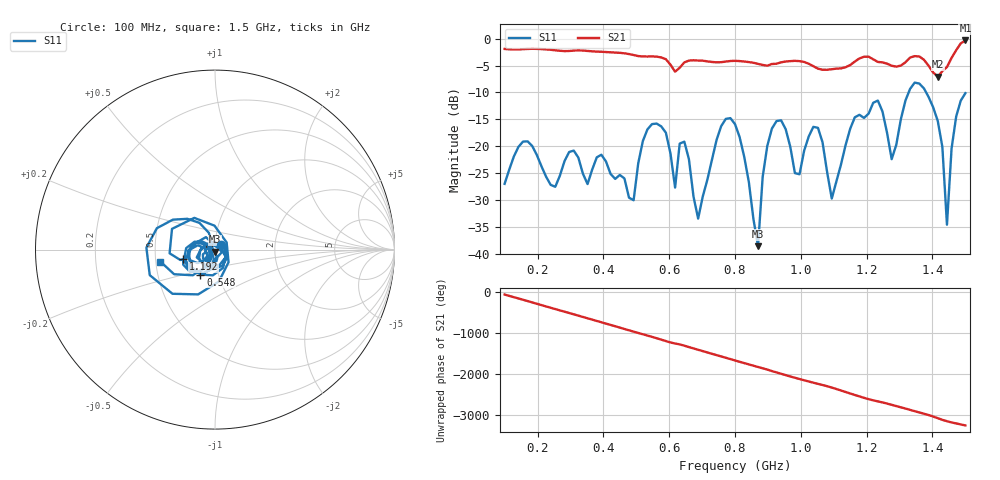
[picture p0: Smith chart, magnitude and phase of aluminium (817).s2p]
! NanoVNA-App
! Date: 2025-09-25 15:01:38
! Start: 100MHz Stop: 1,5GHz Points: 101
! S-Parameter data: F S11 S21 S12 S22
# Hz S RI R 50
!  Frequency  S11_Real  S11_Imag  S21_Real  S21_Imag  S12_Real  S12_Imag  S22_Real  S22_Imag
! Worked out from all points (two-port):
!   101 points, 100 MHz to 1.5 GHz, reference 50 ohm
!   highest |S21| = -0.35 dB at 1.5 GHz (marker M1); lowest = -7.1 dB at 1.416 GHz (marker M2)
!   |S21| within 3 dB of the highest: start of sweep to 561.4 MHz; 1.46 GHz to end of sweep (the widest 2 of 3)
!   lowest |S11| = -38.5 dB at 870 MHz (marker M3), VSWR 1.02, Z = 50 - j1.19 ohm
!   |S11| at or under -10 dB: start of sweep to 1.328 GHz; 1.381 GHz to end of sweep
!   S12 and S22 are empty: the file has one direction only
!   S11 on the Smith chart (normalised r, x): 100 MHz: 1.07, +0.06; 548 MHz: 0.82, -0.23; 1.192 GHz: 0.70, -0.08; 1.5 GHz: 0.53, -0.08
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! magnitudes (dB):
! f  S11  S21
! 100 MHz  -27.0  -1.9
! 156 MHz  -19.1  -2.0
! 338 MHz  -25.1  -2.2
! 492 MHz  -30.0  -3.1
! 548 MHz  -15.9  -3.3
! 576 MHz  -16.3  -3.5
! 618 MHz  -27.7  -6.1
! 646 MHz  -19.1  -4.4
! 688 MHz  -33.4  -4.1
! 800 MHz  -15.9  -4.1
! 870 MHz  -38.5  -4.7
! 912 MHz  -16.7  -4.7
! 996 MHz  -25.2  -4.2
! 1.038 GHz  -16.4  -5.1
! 1.094 GHz  -29.7  -5.7
! 1.192 GHz  -14.7  -3.4
! 1.276 GHz  -22.4  -5.0
! 1.346 GHz  -8.2  -3.3
! 1.416 GHz  -15.3  -7.1
! 1.444 GHz  -34.5  -5.3
! 1.458 GHz  -20.4  -3.6
! 1.5 GHz  -10.1  -0.3
